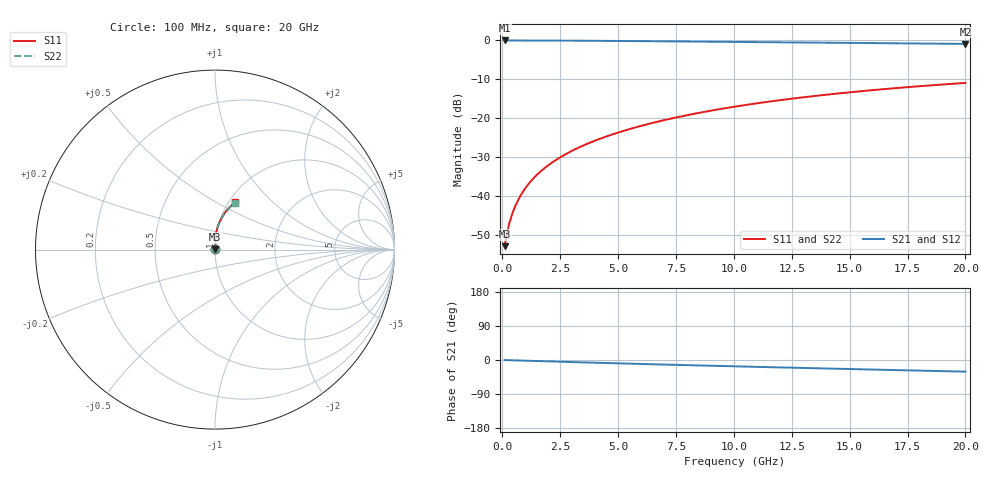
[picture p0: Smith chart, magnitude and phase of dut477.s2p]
! Touchstone file exported from HFSS 2024.1.0
!  File:  C:/UserFiles/LocalFiles/RDL_TSV_Batchsim/temp_RDL_top_477_1779678170.aedt
!  Generated:  11:04:56 AM May 25, 2026
!  Design:  RDL_top
!  Project:  temp_RDL_top_477_1779678170
!  Setup:  Setup1
!  Solution:  Sweep
! Variables:
!  dtsv = 10.80580581um
!  hbump = 3um
!  htsv = 78.38um
!  ldown = 100um
!  lrdl = 427.22um
!  p = 40
!  p1 = 49.98um
!  rhole = 1um
!  t = 450um
!  tdown = 3.915915916um
!  trdl = 3.96um
!  wdown = 15.38538539um
!  wrdl = 23.32um
# GHz S MA R 50.000000
! Terminal data exported
! Port[1] = Box2_T1
! Port[2] = Box2_T2
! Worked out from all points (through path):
!   200 points, 100 MHz to 20 GHz, reference 50 ohm
!   highest |S21| = -0.02 dB at 100 MHz (marker M1); lowest = -0.9 dB at 20 GHz (marker M2)
!   group delay of S21, straight-line fit = 4.22 ps
!   lowest |S11| = -52.7 dB at 100 MHz (marker M3), VSWR 1.00, Z = 50.2 + j0.14 ohm
!   |S11| at or under -10 dB: start of sweep to end of sweep
!   |S22| runs from -52.7 to -10.9 dB; largest |S21 - S12| = 3.1e-15
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0.1  0.002308 37.3  0.9982 -0.2  0.9982 -0.2  0.002308 37.3
! Gamma 0 0 0 0
! Port Impedance 50 0 50 0
0.2  0.003351 54.6  0.998 -0.4  0.998 -0.4  0.003351 54.6
0.3  0.004492 63.0  0.9979 -0.6  0.9979 -0.6  0.004492 63.0
0.4  0.005649 68.0  0.9978 -0.7  0.9978 -0.7  0.00565 68.0
0.5  0.006817 71.5  0.9976 -0.9  0.9976 -0.9  0.006818 71.5
0.6  0.007997 74.0  0.9975 -1.1  0.9975 -1.1  0.007997 74.0
0.8  0.01039 77.6  0.9973 -1.5  0.9973 -1.5  0.01039 77.6
1.1  0.01404 80.8  0.9969 -2.0  0.9969 -2.0  0.01404 80.8
1.3  0.01651 82.2  0.9965 -2.4  0.9965 -2.4  0.01651 82.2
1.6  0.02026 83.7  0.9959 -2.9  0.9959 -2.9  0.02025 83.7
2.1  0.0266 85.3  0.9947 -3.8  0.9947 -3.8  0.02659 85.3
2.7  0.03437 86.3  0.9929 -4.9  0.9929 -4.9  0.03436 86.3
3.5  0.04502 87.0  0.9899 -6.3  0.9899 -6.3  0.04501 87.0
4.2  0.05461 87.2  0.9869 -7.5  0.9869 -7.5  0.0546 87.2
5  0.06588 87.1  0.9832 -8.8  0.9832 -8.8  0.06586 87.0
6.8  0.09225 85.9  0.9739 -11.8  0.9739 -11.8  0.0922 85.9
8.4  0.1165 84.2  0.9652 -14.3  0.9652 -14.3  0.1164 84.1
10.1  0.1425 81.9  0.9559 -16.8  0.9559 -16.8  0.1424 81.8
11.7  0.167 79.6  0.9471 -19.2  0.9471 -19.2  0.1669 79.5
13.4  0.1926 77.0  0.9378 -21.6  0.9378 -21.6  0.1925 76.9
16.7  0.2405 71.9  0.9197 -26.2  0.9197 -26.2  0.2403 71.8
20  0.2852 66.9  0.9014 -30.7  0.9014 -30.7  0.285 66.9
